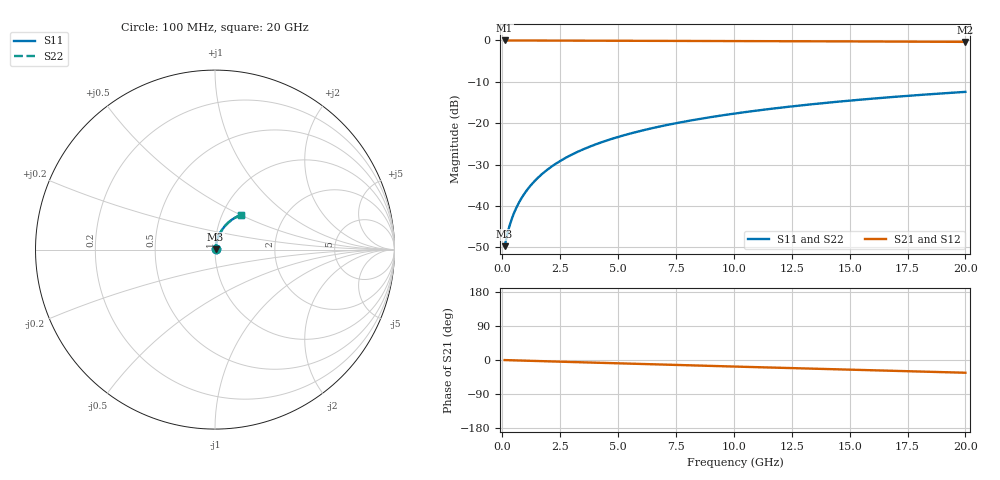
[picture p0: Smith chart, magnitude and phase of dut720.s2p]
! Touchstone file exported from HFSS 2026.1.0
!  File:  C:/ffzhzh/LocalFiles/Ansys_Project_Files/temp_train_TMRDL_720_1783154759_51560.aedt
!  Generated:  04:47:08 PM Jul  4, 2026
!  Design:  TMRDL
!  Project:  temp_train_TMRDL_720_1783154759_51560
! Variables:
!  h_bsmrdl = 2um
!  h_ox = 20um
!  h_rdl = 5um
!  h_sub = 80um
!  h_tmrdl = 4.07um
!  h_tsv = 80um
!  h_via = 3um
!  l_bsmrdl = 300um
!  l_sub = 937.48um
!  l_tmrdl = 537.48um
!  m_sub = 200um
!  pitch = 31.06um
!  r_tsv = 6um
!  s_tmrdl = 10um
!  w_bsmrdl = 18um
!  w_sub = 500um
!  w_tmrdl = 17.4um
!  x_tsv_center1 = 546.18um
!  x_tsv_center2 = 864.18um
!  x_tsv_center3 = 1419.06um
!  x_tsv_center4 = 1737.06um
!  x_tsv_center5 = 2291.94um
!  x_tsv_center6 = 2609.94um
# GHz S MA R 50.000000
! Terminal data exported
! Port[1] = TM_RDL1_1_T1
! Port[2] = TM_RDL1_1_T2
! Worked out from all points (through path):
!   200 points, 100 MHz to 20 GHz, reference 50 ohm
!   highest |S21| = -0.02 dB at 100 MHz (marker M1); lowest = -0.4 dB at 20 GHz (marker M2)
!   group delay of S21, straight-line fit = 4.66 ps
!   lowest |S11| = -49.7 dB at 100 MHz (marker M3), VSWR 1.01, Z = 50.3 + j0.163 ohm
!   |S11| at or under -10 dB: start of sweep to end of sweep
!   |S22| runs from -49.7 to -12.4 dB; largest |S21 - S12| = 3.6e-15
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0.1  0.003279 29.6  0.9972 -0.2  0.9972 -0.2  0.003279 29.6
! Gamma 0 0 0 0
! Port Impedance 50 0 50 0
0.2  0.004365 46.3  0.997 -0.4  0.997 -0.4  0.004365 46.3
0.3  0.00561 55.2  0.9968 -0.6  0.9968 -0.6  0.00561 55.2
0.4  0.006883 60.6  0.9967 -0.7  0.9967 -0.7  0.006883 60.6
0.5  0.008163 64.4  0.9966 -0.9  0.9966 -0.9  0.008163 64.4
0.6  0.009451 67.2  0.9965 -1.1  0.9965 -1.1  0.009451 67.2
0.8  0.01206 71.1  0.9963 -1.4  0.9963 -1.4  0.01206 71.1
1  0.01471 73.6  0.9962 -1.8  0.9962 -1.8  0.01471 73.6
1.2  0.01738 75.2  0.9961 -2.1  0.9961 -2.1  0.01738 75.2
1.4  0.02008 76.4  0.996 -2.5  0.996 -2.5  0.02008 76.4
1.7  0.02414 77.4  0.9957 -3.0  0.9957 -3.0  0.02414 77.4
2.2  0.03093 78.2  0.9953 -3.9  0.9953 -3.9  0.03093 78.2
2.8  0.03905 78.3  0.9947 -5.0  0.9947 -5.0  0.03905 78.3
3.5  0.04845 77.9  0.9939 -6.2  0.9939 -6.2  0.04845 77.9
4.2  0.05774 77.2  0.9929 -7.4  0.9929 -7.4  0.05774 77.2
5  0.06822 76.2  0.9917 -8.8  0.9917 -8.8  0.06822 76.2
6.8  0.09122 73.6  0.9886 -11.9  0.9886 -11.9  0.09122 73.6
8.3  0.1098 71.3  0.9858 -14.4  0.9858 -14.4  0.1098 71.3
10.1  0.1315 68.6  0.9822 -17.4  0.9822 -17.4  0.1315 68.6
13.4  0.1696 63.5  0.975 -22.9  0.975 -22.9  0.1696 63.5
16.7  0.2055 58.5  0.9671 -28.3  0.9671 -28.3  0.2055 58.5
20  0.2388 53.5  0.9586 -33.6  0.9586 -33.6  0.2388 53.5
